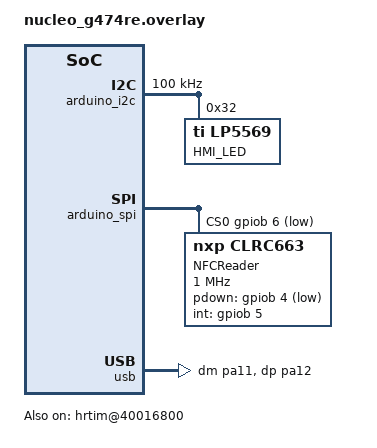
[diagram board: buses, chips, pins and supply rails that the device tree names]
#include <dt-bindings/PowerSwitch/monitor.h>

/ {
	chosen {
		zephyr,code-partition = &slot0_partition;
		zephyr,update-partition = &slot1_partition;
		sep,uart = &arduino_serial;
	};

	pwr {
		#address-cells = <1>;
		#size-cells = <0>;
		sw@0 {
			reg = < 0x0 >;
			compatible = "ppl,e-switch";
			label = "SW1";
			enable-gpios = <&gpioa 10 GPIO_ACTIVE_HIGH>; /* D2 */
			monitor-gpios = <&gpioc 4 (GPIO_PULL_DOWN | GPIO_ACTIVE_HIGH)>; /* D1 */
			monitor-states = <PPL_MONITOR_INACTIVE PPL_MONITOR_DONT_CARE PPL_MONITOR_ACTIVE PPL_MONITOR_DONT_CARE>;
			power-good-delay = <1000000>; /* 100 us max delay between enable and power good */
			power-off-delay = <1000000>; /* 100 us max delay between enable and power good */
			status = "okay";
		};
	};

	soc {

		pinctrl: pin-controller@48000000 {
			hrtim1_cha1_pa8: hrtim1_cha1_pa8 {
				pinmux = <STM32_PINMUX('A', 8, AF13)>;
				slew-rate = "very-high-speed";
			};
		};

		hrtim@40016800 {
			reg = <0x40016800 0xc00>;
			compatible = "st,hrtim";
			interrupts = <67 0>, <73 0>;
			interrupt-names = "MASTER_TIMER", "FLT";
			clocks = <&rcc STM32_CLOCK_BUS_APB2 0x04000000>;
			status = "okay";
			label = "HRTIM";

			#address-cells = <1>;
			#size-cells = <0>;

			hrtim_cha: cha@0 {
				reg = <0x0>;
				compatible = "st,hrtim-channel";
				interrupts = <68 0>;
				status = "okay";
			};
		};
	};

	target_id: tid {
		label = "TID";
		compatible = "leica,target-id";
		hrtim-channel = <&hrtim_cha>;
		status = "okay";
		pinctrl-0 = <&hrtim1_cha1_pa8>;
	};
};

&arduino_i2c {
	status= "okay";
	clock-frequency = <I2C_BITRATE_STANDARD>;

	DPS310@77 {
		status = "disabled";
		compatible = "infineon,dps310";
		reg = <0x77>;
		label = "TEMP";
	};

	hmi_leds: lp5569@32 {
		compatible = "ti,lp5569";
		reg = <0x32>;
		label = "HMI_LED";
		status = "okay";
		max_current = <2000>;

		#address-cells = <1>;
		#size-cells = <0>;

		led_prism_g: led@0 {
			reg = <0>;
			current = <200>;
			charge-pump;
		};
		led_prism_r: led@1 {
			reg = <1>;
			current = <200>;
		};
		led_bt_g: led@2 {
			reg = <2>;
			current = <200>;
			charge-pump;
		};
		led_bt_b: led@3 {
			reg = <3>;
			current = <200>;
			charge-pump;
		};
		led_bat_g: led@4 {
			reg = <4>;
			current = <200>;
			charge-pump;
		};
		led_bat_r: led@5 {
			reg = <5>;
			current = <200>;
		};
	};
};

&arduino_spi {
	status = "okay";
	cs-gpios = <&gpiob 6 (GPIO_ACTIVE_LOW)>; /*Arduino CS/D10*/
	#address-cells = <1>;
	#size-cells = <0>;

	nfc_reader: clrc663@0 {
		compatible = "nxp,clrc663";
		reg = <0>;
		label = "NFCReader";
		pdown-gpios = <&gpiob 4 GPIO_ACTIVE_LOW>;   /*Arduino D5*/
		int-gpios = <&gpiob 5 (GPIO_PULL_DOWN | GPIO_ACTIVE_HIGH)>;  /*Arduino D4*/
		spi-max-frequency = <1000000>;
		status = "okay";
	};
};

&usb {
	pinctrl-0 = <&usb_dm_pa11 &usb_dp_pa12>;
	status = "okay";
};

&flash0 {
	/*
	 * For more information, see:
	 * https://docs.zephyrproject.org/latest/guides/dts/legacy-macros.html#legacy-flash-partitions
	 */
	partitions {
		compatible = "fixed-partitions";
		#address-cells = <1>;
		#size-cells = <1>;

			boot_partition: partition@0 {
				label = "mcuboot";
				reg = <0x00000000 0x00010000>;
				read-only;
			};
			slot0_partition: partition@10000 {
				label = "image-0";
				reg = <0x00010000 0x002F000>;
			};
			slot1_partition: partition@3f000 {
				label = "image-1";
				reg = <0x0003F000 0x002F000>;
			};
			scratch_partition: partition@6e000 {
				label = "image-scratch";
				reg = <0x0006E000 0x00010000>;
			};

			/delete-node/ partition@1f800;

			storage_partition: partition@7f000 {
				label = "storage";
				reg = <0x0007F000 0x00001000>;
			};
	};
};
